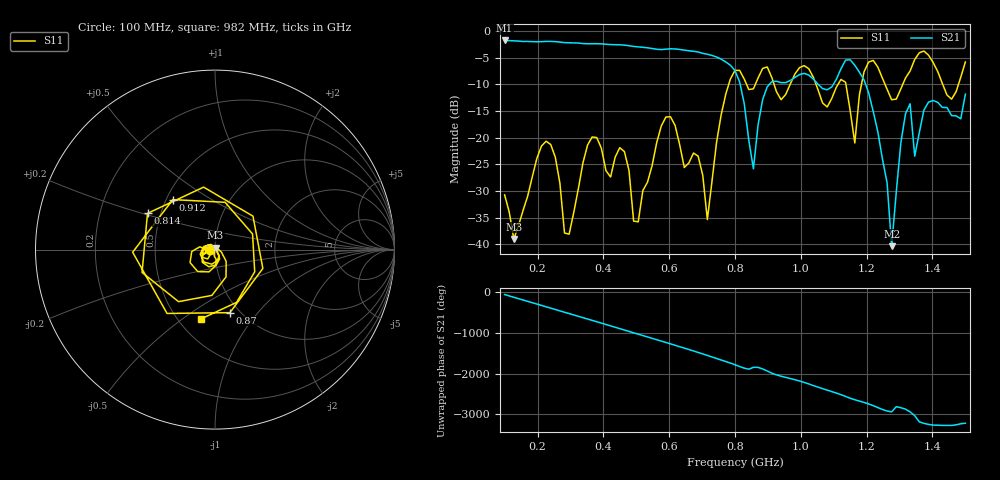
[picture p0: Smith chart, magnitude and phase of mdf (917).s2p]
! NanoVNA-App
! Date: 2025-09-25 15:45:33
! Start: 100MHz Stop: 1,5GHz Points: 101
! S-Parameter data: F S11 S21 S12 S22
# Hz S RI R 50
!  Frequency  S11_Real  S11_Imag  S21_Real  S21_Imag  S12_Real  S12_Imag  S22_Real  S22_Imag
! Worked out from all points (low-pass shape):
!   101 points, 100 MHz to 1.5 GHz, reference 50 ohm
!   highest |S21| = -1.80 dB at 100 MHz (marker M1); lowest = -40.3 dB at 1.276 GHz (marker M2)
!   |S21| within 3 dB of the highest: start of sweep to 739.4 MHz
!   lowest |S11| = -39.0 dB at 128 MHz (marker M3), VSWR 1.02, Z = 50.3 + j1.08 ohm
!   |S11| at or under -10 dB: start of sweep to 781.1 MHz; 1.046 GHz to 1.113 GHz (67.34 MHz wide, 6.24 % of centre); 1.256 GHz to 1.31 GHz (54.32 MHz wide, 4.23 % of centre) (the widest 3 of 7)
!   S12 and S22 are empty: the file has one direction only
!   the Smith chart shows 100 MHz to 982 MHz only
!   S11 on the Smith chart (normalised r, x): 100 MHz: 0.94, -0.01; 814 MHz: 0.42, +0.21; 870 MHz: 0.90, -0.73; 912 MHz: 0.54, +0.35; 982 MHz: 0.64, -0.59
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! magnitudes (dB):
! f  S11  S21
! 100 MHz  -30.7  -1.8
! 128 MHz  -39.0  -1.9
! 212 MHz  -21.6  -2.0
! 282 MHz  -37.9  -2.2
! 338 MHz  -24.8  -2.4
! 464 MHz  -22.6  -2.7
! 506 MHz  -35.8  -3.0
! 576 MHz  -17.8  -3.5
! 716 MHz  -35.4  -4.4
! 800 MHz  -7.4  -7.5
! 814 MHz  -7.4  -9.5
! 856 MHz  -10.9  -25.8
! 870 MHz  -8.9  -17.7
! 912 MHz  -8.8  -9.5
! 982 MHz  -8.1  -8.7
! 1.038 GHz  -8.7  -9.0
! 1.164 GHz  -21.0  -6.5
! 1.192 GHz  -7.7  -9.2
! 1.276 GHz  -12.9  -40.3
! 1.332 GHz  -7.5  -13.7
! 1.346 GHz  -5.4  -23.5
! 1.5 GHz  -5.8  -11.9
